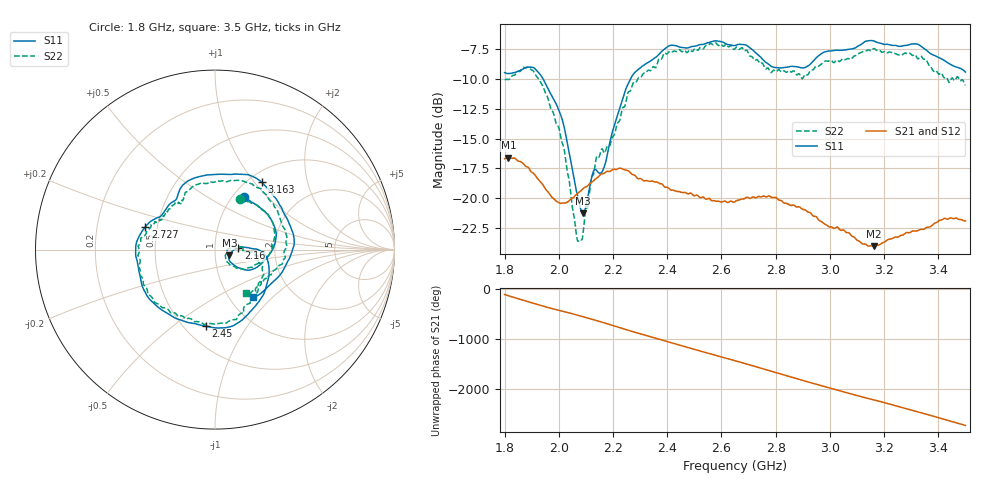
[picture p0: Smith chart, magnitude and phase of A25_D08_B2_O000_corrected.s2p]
! Created with skrf 1.9.0 (http://scikit-rf.org).
# Hz S RI R 50.0
!freq ReS11 ImS11 ReS21 ImS21 ReS12 ImS12 ReS22 ImS22
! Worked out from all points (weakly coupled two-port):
!   1601 points, 1.8 GHz to 3.5 GHz, reference 50 ohm
!   highest |S21| = -16.60 dB at 1.814 GHz (marker M1); lowest = -24.0 dB at 3.161 GHz (marker M2)
!   lowest |S11| = -21.3 dB at 2.09 GHz (marker M3), VSWR 1.19, Z = 58.6 - j3.76 ohm
!   |S11| at or under -10 dB: 1.942 GHz to 2.264 GHz (321.4 MHz wide, 15.3 % of centre)
!   |S22| runs from -23.6 to -7.0 dB; largest |S21 - S12| = 0.0028
!   S11 on the Smith chart (normalised r, x): 1.8 GHz: 1.12, +0.75; 2.16 GHz: 1.30, +0.02; 2.45 GHz: 0.63, -0.66; 2.727 GHz: 0.43, +0.13; 3.163 GHz: 1.15, +1.09; 3.5 GHz: 1.28, -0.76
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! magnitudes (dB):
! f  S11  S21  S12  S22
! 1.8 GHz  -9.5  -16.7  -16.7  -10.0
! 1.814 GHz  -9.5  -16.6  -16.6  -10.0
! 1.887 GHz  -9.0  -17.4  -17.5  -9.0
! 1.941 GHz  -10.0  -18.9  -18.9  -10.6
! 2.011 GHz  -13.3  -20.4  -20.4  -15.3
! 2.066 GHz  -19.5  -19.7  -19.7  -23.2
! 2.084 GHz  -21.1  -19.3  -19.3  -23.5
! 2.09 GHz  -21.3  -19.2  -19.2  -22.8
! 2.128 GHz  -17.7  -18.5  -18.5  -18.0
! 2.16 GHz  -17.8  -17.9  -17.9  -15.9
! 2.26 GHz  -10.2  -17.8  -17.8  -11.0
! 2.367 GHz  -8.0  -18.7  -18.7  -8.4
! 2.45 GHz  -7.3  -19.5  -19.5  -7.6
! 2.65 GHz  -7.2  -20.3  -20.3  -7.5
! 2.727 GHz  -7.8  -20.0  -20.0  -8.4
! 2.798 GHz  -9.0  -19.9  -19.9  -9.3
! 2.934 GHz  -8.6  -21.4  -21.4  -9.2
! 3.161 GHz  -6.8  -24.0  -24.0  -7.4
! 3.163 GHz  -6.8  -24.0  -24.0  -7.4
! 3.217 GHz  -7.1  -23.4  -23.4  -7.7
! 3.324 GHz  -7.1  -22.7  -22.7  -8.3
! 3.5 GHz  -9.4  -21.9  -21.9  -10.5
